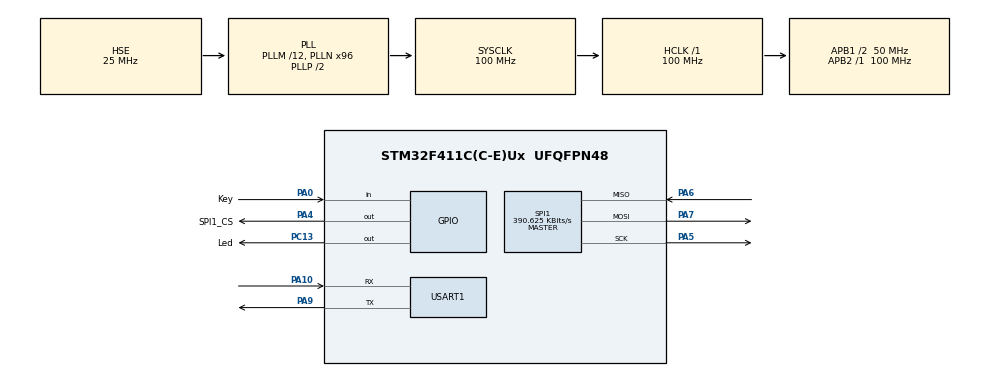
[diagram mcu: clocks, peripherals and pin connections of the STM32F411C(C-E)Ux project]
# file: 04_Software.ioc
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Dma.Request0=USART1_RX
Dma.USART1_RX.0.Direction=DMA_PERIPH_TO_MEMORY
Dma.USART1_RX.0.FIFOMode=DMA_FIFOMODE_DISABLE
Dma.USART1_RX.0.Instance=DMA2_Stream2
Dma.USART1_RX.0.MemDataAlignment=DMA_MDATAALIGN_BYTE
Dma.USART1_RX.0.MemInc=DMA_MINC_ENABLE
Dma.USART1_RX.0.Mode=DMA_NORMAL
Dma.USART1_RX.0.PeriphDataAlignment=DMA_PDATAALIGN_BYTE
Dma.USART1_RX.0.PeriphInc=DMA_PINC_DISABLE
Dma.USART1_RX.0.Priority=DMA_PRIORITY_LOW
FREERTOS.Tasks01=defaultTask,24,128,StartDefaultTask,Default,NULL,Dynamic,NULL,NULL
Mcu.Family=STM32F4
Mcu.Name=STM32F411C(C-E)Ux
Mcu.Package=UFQFPN48
NVIC.DMA2_Stream2_IRQn=true\:5\:0\:false\:false\:true\:true\:false\:true\:true
NVIC.PriorityGroup=NVIC_PRIORITYGROUP_4
NVIC.TIM1_TRG_COM_TIM11_IRQn=true\:15\:0\:false\:false\:true\:false\:false\:true\:true
NVIC.TimeBase=TIM1_TRG_COM_TIM11_IRQn
NVIC.TimeBaseIP=TIM11
NVIC.USART1_IRQn=true\:5\:0\:false\:false\:true\:true\:true\:true\:true
PA0-WKUP.GPIO_Label=Key
PA0-WKUP.GPIO_PuPd=GPIO_PULLUP
PA0-WKUP.Signal=GPIO_Input
PA10.Mode=Asynchronous
PA10.Signal=USART1_RX
PA13.Mode=Serial_Wire
PA13.Signal=SYS_JTMS-SWDIO
PA14.Mode=Serial_Wire
PA14.Signal=SYS_JTCK-SWCLK
PA4.GPIO_Label=SPI1_CS
PA4.PinState=GPIO_PIN_SET
PA4.Signal=GPIO_Output
PA5.Mode=Full_Duplex_Master
PA5.Signal=SPI1_SCK
PA6.Mode=Full_Duplex_Master
PA6.Signal=SPI1_MISO
PA7.Mode=Full_Duplex_Master
PA7.Signal=SPI1_MOSI
PA9.Mode=Asynchronous
PA9.Signal=USART1_TX
PC13-ANTI_TAMP.GPIO_Label=Led
PC13-ANTI_TAMP.GPIO_PuPd=GPIO_NOPULL
PC13-ANTI_TAMP.Signal=GPIO_Output
PH0\ -\ OSC_IN.Mode=HSE-External-Oscillator
PH0\ -\ OSC_IN.Signal=RCC_OSC_IN
PH1\ -\ OSC_OUT.Mode=HSE-External-Oscillator
PH1\ -\ OSC_OUT.Signal=RCC_OSC_OUT
ProjectManager.HeapSize=0x200
ProjectManager.StackSize=0x400
ProjectManager.TargetToolchain=MDK-ARM V5.32
RCC.48MHZClocksFreq_Value=50000000
RCC.AHBFreq_Value=100000000
RCC.APB1CLKDivider=RCC_HCLK_DIV2
RCC.APB1Freq_Value=50000000
RCC.APB1TimFreq_Value=100000000
RCC.APB2Freq_Value=100000000
RCC.APB2TimFreq_Value=100000000
RCC.CortexFreq_Value=100000000
RCC.HCLKFreq_Value=100000000
RCC.HSE_VALUE=25000000
RCC.HSI_VALUE=16000000
RCC.LSE_VALUE=32768
RCC.PLLM=12
RCC.PLLN=96
RCC.PLLSourceVirtual=RCC_PLLSOURCE_HSE
RCC.SYSCLKFreq_VALUE=100000000
RCC.SYSCLKSource=RCC_SYSCLKSOURCE_PLLCLK
RCC.VCOOutputFreq_Value=200000000
SPI1.BaudRatePrescaler=SPI_BAUDRATEPRESCALER_256
SPI1.CalculateBaudRate=390.625 KBits/s
SPI1.Direction=SPI_DIRECTION_2LINES
SPI1.Mode=SPI_MODE_MASTER
SPI1.VirtualType=VM_MASTER
USART1.VirtualMode=VM_ASYNC
VP_FREERTOS_VS_CMSIS_V2.Mode=CMSIS_V2
VP_SYS_VS_tim11.Mode=TIM11
board=custom

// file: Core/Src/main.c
/* USER CODE BEGIN Header */
/**
 ******************************************************************************
 * @file           : main.c
 * @brief          : Main program body
 ******************************************************************************
 * @attention
 *
 * Copyright (c) 2025 STMicroelectronics.
 * All rights reserved.
 *
 * This software is licensed under terms that can be found in the LICENSE file
 * in the root directory of this software component.
 * If no LICENSE file comes with this software, it is provided AS-IS.
 *
 ******************************************************************************
 */
/* USER CODE END Header */
#include "main.h"
#include "cmsis_os.h"
#include "dma.h"
#include "spi.h"
#include "usart.h"
#include "gpio.h"

/* USER CODE BEGIN Includes */
#include <stdio.h>
#include "AT24Cxx_Driver.h"
#include "W25Q_Handler.h"
#include "SWC_OTA.h"
/* USER CODE END Includes */

void SystemClock_Config(void);
void MX_FREERTOS_Init(void);

/* USER CODE BEGIN 0 */
#ifdef __GNUC__
#define PUTCHAR_PROTOTYPE int _io_putchar(int ch)
#else
#define PUTCHAR_PROTOTYPE int fputc(int ch, FILE *f)
#endif /* __GNUC__*/

/******************************************************************
 *@brief  Retargets the C library printf  function to the USART.
 *@param  None
 *@retval None
 ******************************************************************/
int fputc(int ch, FILE *f)
{
    HAL_UART_Transmit(&huart1, (uint8_t *)&ch, 1, 0xFFFF);
    return ch;
}
/* USER CODE END 0 */

int main(void)
{
    /* USER CODE BEGIN 1 */
    __enable_irq();
    /* USER CODE END 1 */

    /* MCU
     * Configuration--------------------------------------------------------*/

    /* Reset of all peripherals, Initializes the Flash interface and the
     * Systick. */
    HAL_Init();

    /* Configure the system clock */
    SystemClock_Config();

    /* Initialize all configured peripherals */
    MX_GPIO_Init();
    MX_DMA_Init();
    MX_USART1_UART_Init();
    MX_SPI1_Init();
    /* USER CODE BEGIN 2 */
    ee_CheckOk();
    // 验证App自检标识
    uint8_t eeflag = 255;
    ee_ReadBytes(&eeflag, 0x00, 1);

    if (0x44 == eeflag)
    {
        eeflag = 0x00;
        ee_WriteBytes(&eeflag, 0x00, 1);
        // 等待看门狗主动复位
        while (1)
            ;
    }
    else if (0x00 != eeflag)
    {
        // 主动执行复位
        SoftReset();
    }
    W25Q64_Init();
    /* USER CODE END 2 */

    /* Init scheduler */
    osKernelInitialize(); /* Call init function for freertos objects (in
                             freertos.c) */
    MX_FREERTOS_Init();

    /* Start scheduler */
    osKernelStart();
    /* We should never get here as control is now taken by the scheduler */
    /* Infinite loop */
    while (1)
    {

    }
}

void SystemClock_Config(void)
{
    RCC_OscInitTypeDef RCC_OscInitStruct = {0};
    RCC_ClkInitTypeDef RCC_ClkInitStruct = {0};

    /** Configure the main internal regulator output voltage
     */
    __HAL_RCC_PWR_CLK_ENABLE();
    __HAL_PWR_VOLTAGESCALING_CONFIG(PWR_REGULATOR_VOLTAGE_SCALE1);

    /** Initializes the RCC Oscillators according to the specified parameters
     * in the RCC_OscInitTypeDef structure.
     */
    RCC_OscInitStruct.OscillatorType = RCC_OSCILLATORTYPE_HSE;
    RCC_OscInitStruct.HSEState       = RCC_HSE_ON;
    RCC_OscInitStruct.PLL.PLLState   = RCC_PLL_ON;
    RCC_OscInitStruct.PLL.PLLSource  = RCC_PLLSOURCE_HSE;
    RCC_OscInitStruct.PLL.PLLM       = 12;
    RCC_OscInitStruct.PLL.PLLN       = 96;
    RCC_OscInitStruct.PLL.PLLP       = RCC_PLLP_DIV2;
    RCC_OscInitStruct.PLL.PLLQ       = 4;
    if (HAL_RCC_OscConfig(&RCC_OscInitStruct) != HAL_OK)
    {
        Error_Handler();
    }

    /** Initializes the CPU, AHB and APB buses clocks
     */
    RCC_ClkInitStruct.ClockType = RCC_CLOCKTYPE_HCLK | RCC_CLOCKTYPE_SYSCLK |
                                  RCC_CLOCKTYPE_PCLK1 | RCC_CLOCKTYPE_PCLK2;
    RCC_ClkInitStruct.SYSCLKSource   = RCC_SYSCLKSOURCE_PLLCLK;
    RCC_ClkInitStruct.AHBCLKDivider  = RCC_SYSCLK_DIV1;
    RCC_ClkInitStruct.APB1CLKDivider = RCC_HCLK_DIV2;
    RCC_ClkInitStruct.APB2CLKDivider = RCC_HCLK_DIV1;

    if (HAL_RCC_ClockConfig(&RCC_ClkInitStruct, FLASH_LATENCY_3) != HAL_OK)
    {
        Error_Handler();
    }
}

void HAL_TIM_PeriodElapsedCallback(TIM_HandleTypeDef *htim)
{
    if (htim->Instance == TIM11)
    {
        HAL_IncTick();
    }
}

void Error_Handler(void)
{
    /* USER CODE BEGIN Error_Handler_Debug */
    /* User can add his own implementation to report the HAL error return state
     */
    __disable_irq();
    while (1)
    {
    }
    /* USER CODE END Error_Handler_Debug */
}

#ifdef USE_FULL_ASSERT
/**
 * @brief  Reports the name of the source file and the source line number
 *         where the assert_param error has occurred.
 * @param  file: pointer to the source file name
 * @param  line: assert_param error line source number
 * @retval None
 */
void assert_failed(uint8_t *file, uint32_t line)
{
    /* USER CODE BEGIN 6 */
    /* User can add his own implementation to report the file name and line
       number, ex: printf("Wrong parameters value: file %s on line %d\r\n",
       file, line) */
    /* USER CODE END 6 */
}
#endif /* USE_FULL_ASSERT */

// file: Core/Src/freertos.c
/* USER CODE BEGIN Header */
/**
 ******************************************************************************
 * File Name          : freertos.c
 * Description        : Code for freertos applications
 ******************************************************************************
 * @attention
 *
 * Copyright (c) 2025 STMicroelectronics.
 * All rights reserved.
 *
 * This software is licensed under terms that can be found in the LICENSE file
 * in the root directory of this software component.
 * If no LICENSE file comes with this software, it is provided AS-IS.
 *
 ******************************************************************************
 */
/* USER CODE END Header */

#include "FreeRTOS.h"
#include "task.h"
#include "main.h"
#include "cmsis_os.h"

/* USER CODE BEGIN Includes */
#include "gpio.h"
#include "usart.h"
#include "queue.h"
#include "ymodem.h"
#include "SWC_OTA.h"
/* USER CODE END Includes */

/* USER CODE BEGIN Variables */
QueueHandle_t         Q_YmodemReclength;

extern osThreadAttr_t OTA_task_attributes;
extern osThreadId_t   OTA_taskHandle;
/* USER CODE END Variables */
/* Definitions for defaultTask */
osThreadId_t          defaultTaskHandle;
const osThreadAttr_t  defaultTask_attributes = {
     .name       = "defaultTask",
     .stack_size = 128 * 4,
     .priority   = (osPriority_t)osPriorityNormal,
};

void StartDefaultTask(void *argument);

void MX_FREERTOS_Init(void); /* (MISRA C 2004 rule 8.1) */

void MX_FREERTOS_Init(void)
{

    /* USER CODE BEGIN RTOS_QUEUES */
    /* add queues, ... */
    Q_YmodemReclength = xQueueCreate(1, sizeof(uint16_t));
    /* USER CODE END RTOS_QUEUES */

    /* Create the thread(s) */
    /* creation of defaultTask */
    defaultTaskHandle =
        osThreadNew(StartDefaultTask, NULL, &defaultTask_attributes);

    OTA_taskHandle = osThreadNew(ota_task_runnable, NULL, &OTA_task_attributes);
}

uint8_t rec_cmd[10] = {0};
void    StartDefaultTask(void *argument)
{
    /* USER CODE BEGIN StartDefaultTask */
    HAL_UARTEx_ReceiveToIdle_DMA(&huart1, rec_cmd, 10);
    /* Infinite loop */
    for (;;)
    {
        HAL_GPIO_WritePin(Led_GPIO_Port, Led_Pin, GPIO_PIN_RESET);
        osDelay(500);
        HAL_GPIO_WritePin(Led_GPIO_Port, Led_Pin, GPIO_PIN_SET);
        osDelay(500);
    }
    /* USER CODE END StartDefaultTask */
}

/* USER CODE BEGIN Application */
extern DMA_HandleTypeDef hdma_usart1_rx;
void HAL_UARTEx_RxEventCallback(UART_HandleTypeDef *huart, uint16_t Size)
{
    UNUSED(huart);
    UNUSED(Size);

    uint16_t   t_u16_rec_len            = 0;
    BaseType_t xHigherPriorityTaskWoken = pdFALSE;

    // 判断是串口1
    if (huart->Instance == USART1)
    {
        // 获取剩余当前传输值
        if (1 == __HAL_UART_GET_FLAG(huart, UART_FLAG_IDLE))
        {
            t_u16_rec_len = Size;
            if (pdFALSE !=
                xQueueSendFromISR(Q_YmodemReclength, &t_u16_rec_len, 0))
            {
                xHigherPriorityTaskWoken = pdTRUE;
            }
            HAL_UART_DMAStop(huart);
        }
        portYIELD_FROM_ISR(xHigherPriorityTaskWoken);
        // DMA 传输完成后的操作
    }
}
/* USER CODE END Application */
